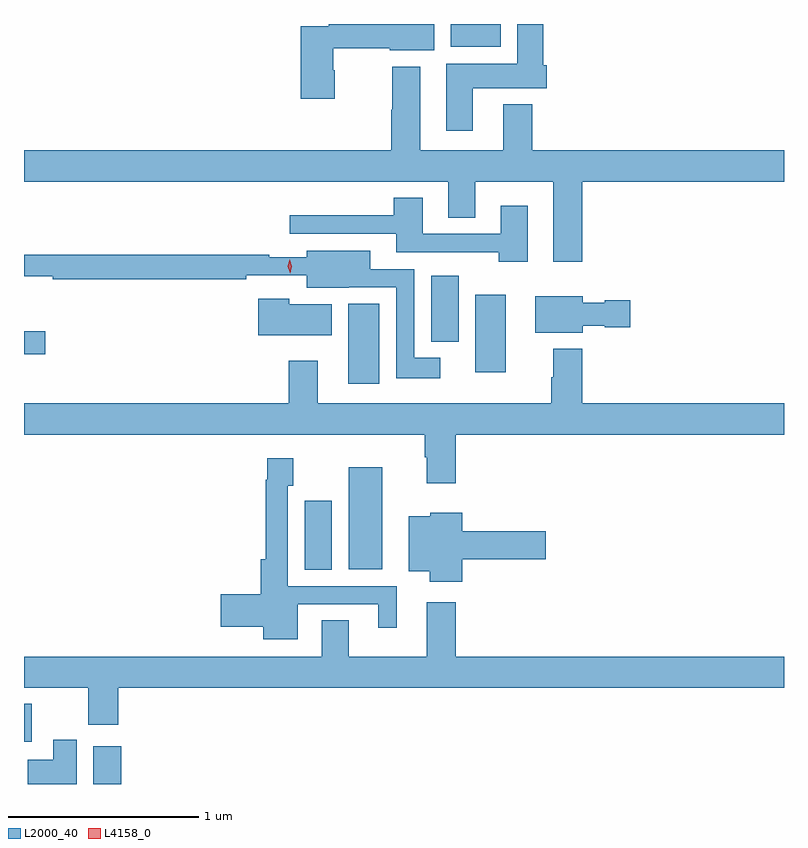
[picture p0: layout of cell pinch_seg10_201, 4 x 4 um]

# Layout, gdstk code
import gdstk
lib = gdstk.Library(unit=1e-6, precision=1e-09)
def R(c, l, rs):  # rectangles x0, y0, x1, y1
    for r in rs: c.add(gdstk.rectangle(r[:2], r[2:], *l))
def P(c, l, *ps):  # polygons
    for p in ps: c.add(gdstk.Polygon(p, *l))
L2000_40 = (2000, 40)
L4158_0 = (4158, 0)

pinch_seg10_201 = lib.new_cell('pinch_seg10_201')
R(pinch_seg10_201, L2000_40, [(868.424,1251.857,868.571,1252.057), (868.059,1252.08,868.099,1252.279), (869.537,1252.984,869.68,1253.347), (869.768,1252.988,869.944,1253.524), (869.765,1253.964,869.929,1254.385), (870.434,1254.024,870.595,1254.433), (868.059,1254.119,868.171,1254.241), (870.203,1254.185,870.346,1254.532), (870.305,1255.736,870.568,1255.857)])
P(pinch_seg10_201, L2000_40, [(869.694,1255.614),(869.686,1255.614),(869.686,1255.729),(869.984,1255.729),(869.984,1255.718),(870.217,1255.718),(870.217,1255.857),(869.662,1255.857),(869.662,1255.845),(869.516,1255.845),(869.516,1255.464),(869.694,1255.464)],
  [(870.421,1255.52),(870.809,1255.52),(870.809,1255.641),(870.791,1255.641),(870.791,1255.857),(870.656,1255.857),(870.656,1255.648),(870.281,1255.648),(870.281,1255.296),(870.421,1255.296)],
  [(870.998,1255.028),(872.059,1255.028),(872.059,1255.192),(870.734,1255.192),(870.734,1255.435),(870.581,1255.435),(870.581,1255.192),(870.145,1255.192),(870.145,1255.633),(869.998,1255.633),(869.998,1255.407),(869.993,1255.407),(869.993,1255.192),(868.059,1255.192),(868.059,1255.028),(870.293,1255.028),(870.293,1254.838),(870.433,1254.838),(870.433,1255.028),(870.845,1255.028),(870.845,1254.606),(870.998,1254.606)],
  [(870.709,1254.901),(870.569,1254.901),(870.569,1254.753),(870.157,1254.753),(870.157,1254.943),(870.005,1254.943),(870.005,1254.85),(869.457,1254.85),(869.457,1254.753),(870.017,1254.753),(870.017,1254.657),(870.557,1254.657),(870.557,1254.606),(870.709,1254.606)],
  [(870.25,1254.1),(870.114,1254.1),(870.114,1254.567),(869.881,1254.567),(869.881,1254.664),(869.546,1254.664),(869.546,1254.63),(869.35,1254.63),(869.35,1254.643),(868.059,1254.643),(868.059,1254.529),(868.209,1254.529),(868.209,1254.514),(869.228,1254.514),(869.228,1254.534),(869.546,1254.534),(869.546,1254.47),(869.769,1254.47),(869.769,1254.471),(870.018,1254.471),(870.018,1253.993),(870.25,1253.993)],
  [(871,1254.269),(871.116,1254.269),(871.116,1254.262),(871.249,1254.262),(871.249,1254.404),(871.116,1254.404),(871.116,1254.391),(871,1254.391),(871,1254.424),(870.749,1254.424),(870.749,1254.233),(871,1254.233)],
  [(869.68,1254.382),(869.454,1254.382),(869.454,1254.412),(869.291,1254.412),(869.291,1254.218),(869.68,1254.218)],
  [(870.332,1253.696),(872.059,1253.696),(872.059,1253.86),(870.998,1253.86),(870.998,1254.148),(870.845,1254.148),(870.845,1253.999),(870.833,1253.999),(870.833,1253.86),(869.605,1253.86),(869.605,1254.085),(869.453,1254.085),(869.453,1253.86),(868.059,1253.86),(868.059,1253.696),(870.167,1253.696),(870.167,1253.576),(870.179,1253.576),(870.179,1253.439),(870.332,1253.439)],
  [(869.5,1252.803),(869.924,1252.803),(869.924,1252.68),(870.022,1252.68),(870.022,1252.899),(869.448,1252.899),(869.448,1253.427),(869.475,1253.427),(869.475,1253.572),(869.34,1253.572),(869.34,1253.459),(869.332,1253.459),(869.332,1253.041),(869.306,1253.041),(869.306,1252.856),(869.094,1252.856),(869.094,1252.685),(869.318,1252.685),(869.318,1252.619),(869.5,1252.619)],
  [(870.365,1253.039),(870.805,1253.039),(870.805,1253.186),(870.365,1253.186),(870.365,1253.284),(870.198,1253.284),(870.198,1253.266),(870.083,1253.266),(870.083,1252.976),(870.194,1252.976),(870.194,1252.922),(870.365,1252.922)],
  [(868.556,1252.364),(872.059,1252.364),(872.059,1252.528),(870.332,1252.528),(870.332,1252.813),(870.179,1252.813),(870.179,1252.528),(869.767,1252.528),(869.767,1252.718),(869.627,1252.718),(869.627,1252.528),(868.059,1252.528),(868.059,1252.364),(868.396,1252.364),(868.396,1252.17),(868.556,1252.17)],
  [(868.336,1252.09),(868.214,1252.09),(868.214,1251.985),(868.079,1251.985),(868.079,1251.857),(868.336,1251.857)])
P(pinch_seg10_201, L4158_0, [(869.459,1254.546),(869.459,1254.546),(869.448,1254.582),(869.457,1254.617),(869.458,1254.618),(869.458,1254.617),(869.468,1254.582),(869.459,1254.546)])

lib.write_gds('pinch_seg10_201.gds')
